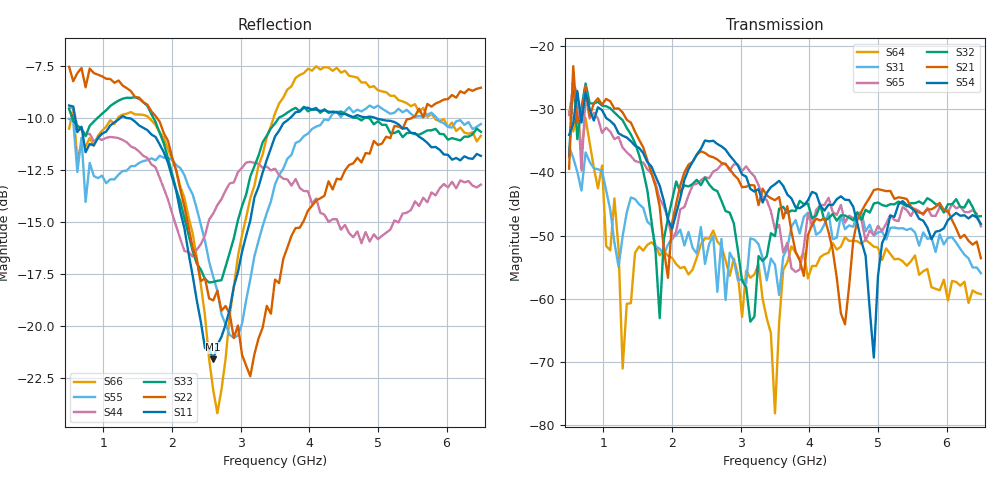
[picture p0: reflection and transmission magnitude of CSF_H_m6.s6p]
!Keysight Technologies,M9804A,MY58100912,A.14.10.03
!Date: Thursday, April 27, 2023 10:28:33
!Correction: S11(C  6-Port  )
!S12(C  6-Port  )
!S13(C  6-Port  )
!S14(C  6-Port  )
!S15(C  6-Port  )
!S16(C  6-Port  )
!S21(C  6-Port  )
!S22(C  6-Port  )
!S23(C  6-Port  )
!S24(C  6-Port  )
!S25(C  6-Port  )
!S26(C  6-Port  )
!S31(C  6-Port  )
!S32(C  6-Port  )
!S33(C  6-Port  )
!S34(C  6-Port  )
!S35(C  6-Port  )
!S36(C  6-Port  )
!S41(C  6-Port  )
!S42(C  6-Port  )
!S43(C  6-Port  )
!S44(C  6-Port  )
!S45(C  6-Port  )
!S46(C  6-Port  )
!S51(C  6-Port  )
!S52(C  6-Port  )
!S53(C  6-Port  )
!S54(C  6-Port  )
!S55(C  6-Port  )
!S56(C  6-Port  )
!S61(C  6-Port  )
!S62(C  6-Port  )
!S63(C  6-Port  )
!S64(C  6-Port  )
!S65(C  6-Port  )
!S66(C  6-Port  )
!S6P File: Measurement: :
# Hz S  RI  R 50
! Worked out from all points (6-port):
!   101 points, 500 MHz to 6.5 GHz, reference 50 ohm
!   strongest paths, dB at 500 MHz, 2 GHz, 3.5 GHz, 5 GHz, 6.5 GHz:
!     S54: -34.1, -48.9, -41.9, -56.5, -48.2
!     S21: -39.4, -48.0, -44.4, -42.6, -53.6
!     S32: -37.5, -44.4, -50.1, -44.8, -46.9
!     S65: -30.9, -50.6, -49.0, -48.5, -48.5
!     S31: -35.9, -50.4, -54.6, -49.5, -55.9
!     S64: -30.3, -53.5, -78.1, -51.9, -59.3
!   lowest |S11| = -21.6 dB at 2.6 GHz (marker M1), VSWR 1.18, Z = 42.6 + j2.04 ohm
!   |S11| at or under -10 dB: 587.7 MHz to 1.24 GHz (652.6 MHz wide, 71.4 % of centre); 1.376 GHz to 3.714 GHz (2.339 GHz wide, 91.9 % of centre); 4.975 GHz to end of sweep
